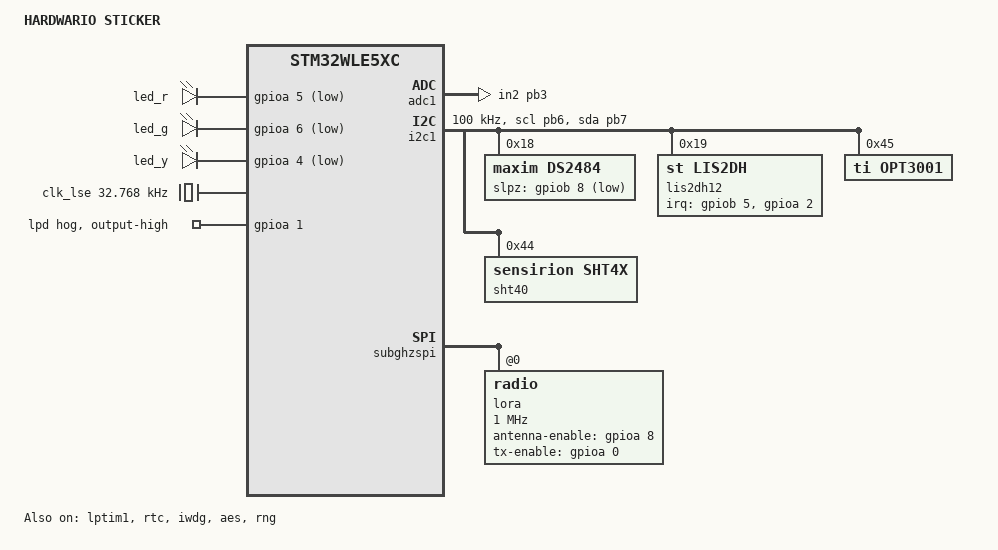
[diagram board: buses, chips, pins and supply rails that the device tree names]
/*
 * Copyright (c) 2024 HARDWARIO a.s.
 *
 * SPDX-License-Identifier: Apache-2.0
 */

/dts-v1/;

#include <st/wl/stm32wle5Xc.dtsi>
#include <st/wl/stm32wle5ccux-pinctrl.dtsi>
#include <zephyr/dt-bindings/input/input-event-codes.h>
#include <zephyr/dt-bindings/sensor/lis2dh.h>

/ {
	model = "HARDWARIO STICKER";
	compatible = "hardwario,sticker";

	chosen {
		zephyr,sram = &sram0;
		zephyr,flash = &flash0;
		zephyr,code-partition = &slot0_partition;
	};

	leds {
		compatible = "gpio-leds";

		led_r: led_r {
			gpios = <&gpioa 5 GPIO_ACTIVE_LOW>;
		};

		led_g: led_g {
			gpios = <&gpioa 6 GPIO_ACTIVE_LOW>;
		};

		led_y: led_y {
			gpios = <&gpioa 4 GPIO_ACTIVE_LOW>;
		};
	};

	aliases {
		led0 = &led_r;
		led1 = &led_g;
		led2 = &led_y;
		lora0 = &lora;
		watchdog0 = &iwdg;
	};
};

stm32_lp_tick_source: &lptim1 {
	clocks = <&rcc STM32_CLOCK_BUS_APB1 0x80000000>, <&rcc STM32_SRC_LSE LPTIM1_SEL(3)>;
	status = "okay";
};

&clk_lse {
	clock-frequency = <32768>;
	driving-capability = <1>;
	status = "okay";
};

&clk_lsi {
	status = "okay";
};

&clk_msi {
	status = "okay";
	msi-range = <11>;
};

&rcc {
	clocks = <&clk_msi>;
	clock-frequency = <DT_FREQ_M(48)>;
	cpu1-prescaler = <1>;
	ahb3-prescaler = <1>;
	apb1-prescaler = <1>;
	apb2-prescaler = <1>;
};

&adc1 {
	pinctrl-0 = <&adc_in2_pb3>;
	pinctrl-names = "default";
	st,adc-clock-source = <SYNC>;
	st,adc-prescaler = <4>;
	status = "okay";
};

&gpioa {
	lpd {
		gpio-hog;
		gpios = <1 GPIO_ACTIVE_HIGH>;
		output-high;
	};
};

&i2c1 {
	clock-frequency = <I2C_BITRATE_STANDARD>;
	pinctrl-0 = <&i2c1_scl_pb6 &i2c1_sda_pb7>;
	pinctrl-1 = <&i2c1_scl_pb6 &i2c1_sda_pb7>;
	pinctrl-names = "default", "sleep";
	status = "okay";

	ds2484: ds2484@18 {
		compatible = "maxim,ds2484";
		reg = <0x18>;
		slpz-gpios = <&gpiob 8 GPIO_ACTIVE_LOW>;
		active-pullup;

		ds18b20_0: ds18b20_0 {
			compatible = "maxim,ds18b20";
			resolution = <12>;
			family-code = <0x28>;
		};

		ds18b20_1: ds18b20_1 {
			compatible = "maxim,ds18b20";
			resolution = <12>;
			family-code = <0x28>;
		};
	};

	lis2dh12: lis2dh12@19 {
		compatible = "st,lis2dh";
		reg = <0x19>;
		anym-mode = <LIS2DH_DT_ANYM_6D_MOVEMENT>;
		irq-gpios = <&gpiob 5 GPIO_ACTIVE_HIGH>,
			    <&gpioa 2 GPIO_ACTIVE_HIGH>;
		disconnect-sdo-sa0-pull-up;
	};

	opt3001: opt3001@45 {
		compatible = "ti,opt3001";
		reg = <0x45>;
	};

	sht40: sht40@44 {
		compatible = "sensirion,sht4x";
		reg = <0x44>;
		repeatability = <2>;
	};
};

&rtc {
	clocks = <&rcc STM32_CLOCK_BUS_APB1 0x00000400>,
		 <&rcc STM32_SRC_LSE RTC_SEL(1)>;
	status = "okay";
};

&iwdg {
	status = "okay";
};

&aes {
	status = "okay";
};

&rng {
	status = "okay";
	clocks = <&rcc STM32_CLOCK_BUS_AHB3 0x00040000>,
		 <&rcc STM32_SRC_MSI RNG_SEL(3)>;
};

&subghzspi {
	status = "okay";
	lora: radio@0 {
		status = "okay";
		antenna-enable-gpios = <&gpioa 8 GPIO_ACTIVE_HIGH>;
		tx-enable-gpios = <&gpioa 0 GPIO_ACTIVE_HIGH>;
		dio3-tcxo-voltage = <SX126X_DIO3_TCXO_3V3>;
		tcxo-power-startup-delay-ms = <5>;
		power-amplifier-output = "rfo-lp";
		rfo-lp-max-power = <14>;
		spi-max-frequency = <1000000>;
	};
};

&flash0 {
	partitions {
		compatible = "fixed-partitions";
		#address-cells = <1>;
		#size-cells = <1>;

		boot_partition: partition@0 {
			label = "mcuboot";
			reg = <0x00000000 DT_SIZE_K(32)>;
			read-only;
		};

		slot0_partition: partition@8000 {
			label = "image-0";
			reg = <0x00008000 DT_SIZE_K(108)>;
		};

		slot1_partition: partition@23000 {
			label = "image-1";
			reg = <0x00023000 DT_SIZE_K(108)>;
		};

		storage_partition: partition@3e000 {
			label = "storage";
			reg = <0x0003e000 DT_SIZE_K(8)>;
		};
	};
};
